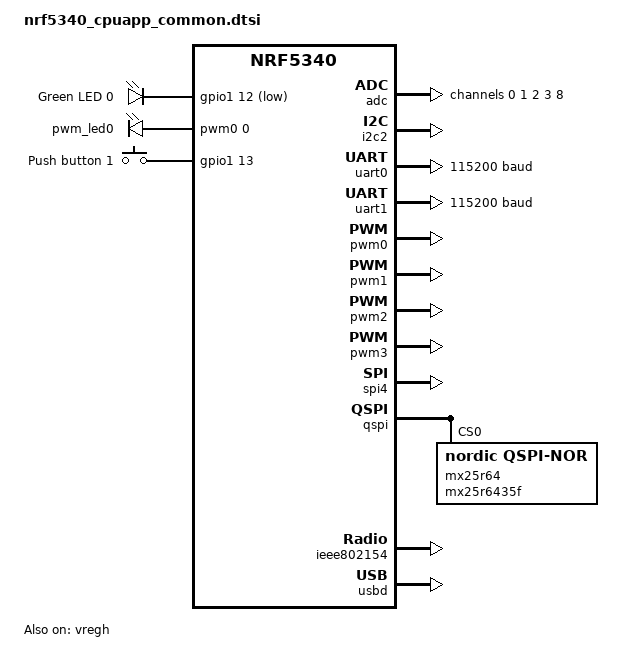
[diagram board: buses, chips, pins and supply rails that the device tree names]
/*
 * Copyright (c) 2019-2020 Nordic Semiconductor ASA
 *
 * SPDX-License-Identifier: Apache-2.0
 */
#include "nrf5340_cpuapp_common-pinctrl.dtsi"
#include <zephyr/dt-bindings/input/input-event-codes.h>

/ {

	chosen {
		zephyr,console = &uart0;
		zephyr,shell-uart = &uart0;
		zephyr,uart-mcumgr = &uart0;
		zephyr,bt-mon-uart = &uart0;
		zephyr,bt-c2h-uart = &uart0;
		zephyr,bt-hci = &bt_hci_ipc0;
		nordic,802154-spinel-ipc = &ipc0;
		zephyr,ieee802154 = &ieee802154;
	};

	leds {
		compatible = "gpio-leds";
		led0: led_0 {
			gpios = <&gpio1 12 GPIO_ACTIVE_LOW>;
			label = "Green LED 0";
		};
	};

	pwmleds {
		compatible = "pwm-leds";
		pwm_led0: pwm_led_0 {
			pwms = <&pwm0 0 PWM_MSEC(20) PWM_POLARITY_INVERTED>;
		};
	};

	buttons {
		compatible = "gpio-keys";
		button0: button_0 {
			gpios = <&gpio1 13 GPIO_ACTIVE_HIGH>;
			label = "Push button 1";
			zephyr,code = <INPUT_BTN_0>;
		};
	};

	gpio_fwd: nrf-gpio-forwarder {
		compatible = "nordic,nrf-gpio-forwarder";
		status = "okay";
		uart {
			gpios = <&gpio1 1 0>, <&gpio1 0 0>, <&gpio0 11 0>, <&gpio0 10 0>;
		};
	};

	/* These aliases are provided for compatibility with samples */
	aliases {
		led0 = &led0;
		pwm-led0 = &pwm_led0;
		sw0 = &button0;
		bootloader-led0 = &led0;
		mcuboot-button0 = &button0;
		mcuboot-led0 = &led0;
		watchdog0 = &wdt0;
		spi-flash0 = &mx25r64;
	};
};

&vregmain {
	regulator-initial-mode = <NRF5X_REG_MODE_DCDC>;
};

&vregradio {
	regulator-initial-mode = <NRF5X_REG_MODE_DCDC>;
};

&vregh {
	status = "okay";
};

&adc {
	status = "okay";
	#address-cells = <1>;
	#size-cells = <0>;

	channel@0 {
		reg = <0>;
		zephyr,gain = "ADC_GAIN_1_4";
		zephyr,reference = "ADC_REF_VDD_1_4";
		zephyr,vref-mv = <825>; /* Default value, seek channel@8 to measure VDD reference */
		zephyr,acquisition-time = <ADC_ACQ_TIME_DEFAULT>;
		zephyr,input-positive = <NRF_SAADC_AIN0>;
		zephyr,resolution = <12>;
	};

	channel@1 {
		reg = <1>;
		zephyr,gain = "ADC_GAIN_1_4";
		zephyr,reference = "ADC_REF_VDD_1_4";
		zephyr,vref-mv = <825>; /* Default value, seek channel@8 to measure VDD reference */
		zephyr,acquisition-time = <ADC_ACQ_TIME_DEFAULT>;
		zephyr,input-positive = <NRF_SAADC_AIN1>;
		zephyr,resolution = <12>;
	};

	channel@2 {
		reg = <2>;
		zephyr,gain = "ADC_GAIN_1_4";
		zephyr,reference = "ADC_REF_VDD_1_4";
		zephyr,vref-mv = <825>; /* Default value, seek channel@8 to measure VDD reference */
		zephyr,acquisition-time = <ADC_ACQ_TIME_DEFAULT>;
		zephyr,input-positive = <NRF_SAADC_AIN2>;
		zephyr,resolution = <12>;
	};

	channel@3 {
		reg = <3>;
		zephyr,gain = "ADC_GAIN_1_4";
		zephyr,reference = "ADC_REF_VDD_1_4";
		zephyr,vref-mv = <825>; /* Default value, seek channel@8 to measure VDD reference */
		zephyr,acquisition-time = <ADC_ACQ_TIME_DEFAULT>;
		zephyr,input-positive = <NRF_SAADC_AIN3>;
		zephyr,resolution = <12>;
	};

	channel@8 { /* Channel used to measure VDD reference */
		reg = <8>;
		zephyr,gain = "ADC_GAIN_1_6";
		zephyr,reference = "ADC_REF_INTERNAL";
		zephyr,acquisition-time = <ADC_ACQ_TIME_DEFAULT>;
		zephyr,input-positive = <NRF_SAADC_VDD>;
		zephyr,resolution = <12>;
	};
};

&lfxo {
	load-capacitors = "internal";
	load-capacitance-picofarad = <7>;
};

&gpiote {
	status = "okay";
};

&gpio0 {
	status = "okay";
};

&gpio1 {
	status = "okay";
};

&i2c2 {
	compatible = "nordic,nrf-twim";
	status = "okay";
	pinctrl-0 = <&i2c2_default>;
	pinctrl-1 = <&i2c2_sleep>;
	pinctrl-names = "default", "sleep";
};

&uart0 {
	status = "okay";
	current-speed = <115200>;
	pinctrl-0 = <&uart0_default>;
	pinctrl-1 = <&uart0_sleep>;
	pinctrl-names = "default", "sleep";
};

&uart1 {
	status = "okay";
	current-speed = <115200>;
	pinctrl-0 = <&uart1_default>;
	pinctrl-1 = <&uart1_sleep>;
	pinctrl-names = "default", "sleep";
};

&pwm0 {
	status = "okay";
	pinctrl-0 = <&pwm0_default>;
	pinctrl-1 = <&pwm0_sleep>;
	pinctrl-names = "default", "sleep";
};

&pwm1 {
	status = "okay";
	pinctrl-0 = <&pwm1_default>;
	pinctrl-1 = <&pwm1_sleep>;
	pinctrl-names = "default", "sleep";
};

&pwm2 {
	status = "okay";
	pinctrl-0 = <&pwm2_default>;
	pinctrl-1 = <&pwm2_sleep>;
	pinctrl-names = "default", "sleep";
};

&pwm3 {
	status = "okay";
	pinctrl-0 = <&pwm3_default>;
	pinctrl-1 = <&pwm3_sleep>;
	pinctrl-names = "default", "sleep";
};

&spi4 {
	compatible = "nordic,nrf-spim";
	status = "okay";
	pinctrl-0 = <&spi4_default>;
	pinctrl-1 = <&spi4_sleep>;
	pinctrl-names = "default", "sleep";
	cs-gpios = <&gpio0 18 GPIO_ACTIVE_LOW>;
};

&qspi {
	status = "okay";
	pinctrl-0 = <&qspi_default>;
	pinctrl-1 = <&qspi_sleep>;
	pinctrl-names = "default", "sleep";
	mx25r64: mx25r6435f@0 {
		compatible = "nordic,qspi-nor";
		reg = <0>;
		/* MX25R64 supports only pp and pp4io */
		writeoc = "pp4io";
		/* MX25R64 supports all readoc options */
		readoc = "read4io";
		sck-frequency = <8000000>;
		jedec-id = [c2 28 17];
		sfdp-bfp = [
			e5 20 f1 ff  ff ff ff 03  44 eb 08 6b  08 3b 04 bb
			ee ff ff ff  ff ff 00 ff  ff ff 00 ff  0c 20 0f 52
			10 d8 00 ff  23 72 f5 00  82 ed 04 cc  44 83 68 44
			30 b0 30 b0  f7 c4 d5 5c  00 be 29 ff  f0 d0 ff ff
		];
		size = <67108864>;
		has-dpd;
		t-enter-dpd = <10000>;
		t-exit-dpd = <35000>;
	};
};

&ieee802154 {
	status = "okay";
};

zephyr_udc0: &usbd {
	compatible = "nordic,nrf-usbd";
	status = "okay";
};

/* Include default memory partition configuration file */
#include <common/nordic/nrf5340_cpuapp_partition.dtsi>
